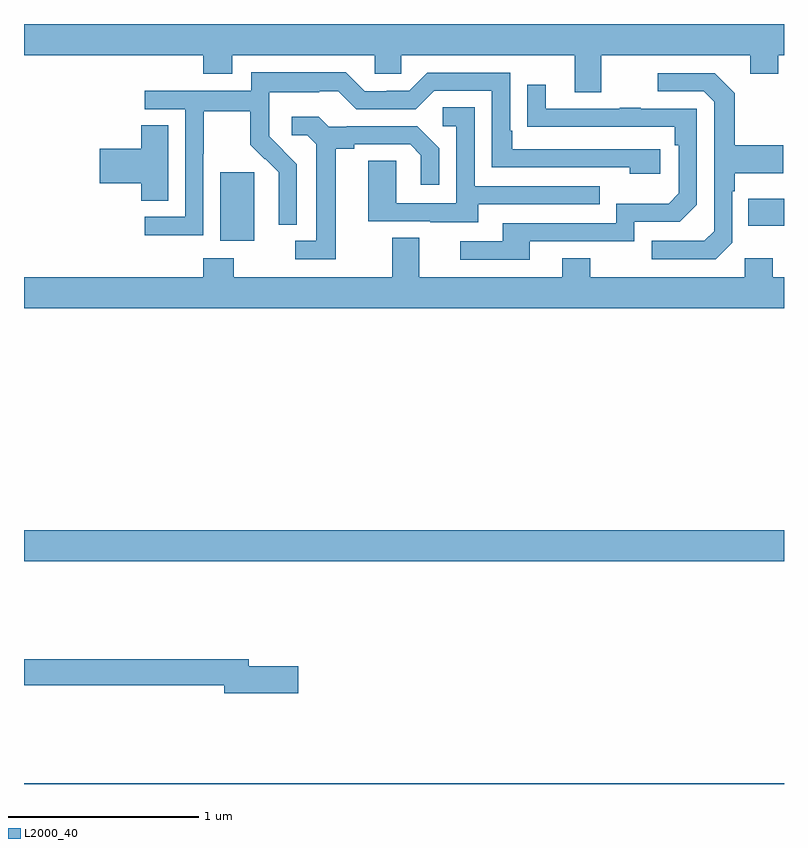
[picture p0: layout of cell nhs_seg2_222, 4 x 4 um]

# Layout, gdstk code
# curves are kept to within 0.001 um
import gdstk
lib = gdstk.Library(unit=1e-6, precision=1e-09)
def R(c, l, rs):  # rectangles x0, y0, x1, y1
    for r in rs: c.add(gdstk.rectangle(r[:2], r[2:], *l))
def P(c, l, *ps):  # polygons
    for p in ps: c.add(gdstk.Polygon(p, *l))
L2000_40 = (2000, 40)

nhs_seg2_222 = lib.new_cell('nhs_seg2_222')
R(nhs_seg2_222, L2000_40, [(121,643.8,125,643.804), (121,644.972,125,645.136), (122.033,646.658,122.212,647.019), (124.813,646.739,125,646.879)])
P(nhs_seg2_222, L2000_40, [(121,647.636),(121.943,647.636),(121.943,647.537),(122.095,647.537),(122.095,647.636),(122.847,647.636),(122.847,647.538),(122.985,647.538),(122.985,647.636),(123.899,647.636),(123.899,647.442),(124.039,647.442),(124.039,647.636),(124.823,647.636),(124.823,647.537),(124.971,647.537),(124.971,647.636),(125,647.636),(125,647.8),(121,647.8)],
  [(121.944,647.116),(121.947,647.116),(121.947,647.34),(122.191,647.34),(122.191,647.165),(122.268,647.088),(122.271,647.091),(122.342,647.021),(122.342,646.898),(122.34,646.898),(122.34,646.744),(122.436,646.744),(122.436,647.062),(122.29,647.21),(122.29,647.307),(122.292,647.307),(122.292,647.441),(122.555,647.441),(122.555,647.445),(122.655,647.445),(122.748,647.352),(123.063,647.352),(123.159,647.448),(123.462,647.448),(123.462,647.046),(124.187,647.046),(124.187,647.012),(124.348,647.012),(124.348,647.142),(123.571,647.142),(123.571,647.239),(123.558,647.239),(123.558,647.544),(123.123,647.544),(123.027,647.448),(122.909,647.448),(122.909,647.445),(122.793,647.445),(122.693,647.545),(122.196,647.545),(122.196,647.448),(121.635,647.448),(121.635,647.352),(121.848,647.352),(121.848,646.785),(121.635,646.785),(121.635,646.687),(121.944,646.687)],
  [(124.728,646.65),(124.728,646.919),(124.741,646.919),(124.741,647.015),(124.997,647.015),(124.997,647.163),(124.741,647.163),(124.741,647.435),(124.635,647.541),(124.335,647.541),(124.335,647.445),(124.578,647.445),(124.632,647.391),(124.632,646.71),(124.581,646.659),(124.305,646.659),(124.305,646.563),(124.641,646.563)],
  [(123.661,646.656),(124.212,646.656),(124.212,646.758),(124.452,646.758),(124.542,646.848),(124.542,647.355),(124.247,647.355),(124.247,647.36),(124.135,647.36),(124.135,647.355),(123.745,647.355),(123.745,647.479),(123.649,647.479),(123.649,647.26),(124.426,647.259),(124.426,647.162),(124.446,647.162),(124.446,646.908),(124.393,646.855),(124.116,646.855),(124.116,646.752),(123.521,646.752),(123.521,646.656),(123.297,646.656),(123.297,646.56),(123.661,646.56)],
  [(123.391,646.851),(124.031,646.851),(124.031,646.947),(123.372,646.947),(123.372,647.363),(123.204,647.363),(123.204,647.262),(123.276,647.262),(123.276,646.857),(122.958,646.857),(122.958,647.081),(122.813,647.081),(122.813,646.761),(123.137,646.761),(123.137,646.757),(123.391,646.757)],
  [(122.641,647.144),(122.737,647.144),(122.737,647.166),(123.032,647.166),(123.089,647.109),(123.089,646.953),(123.186,646.953),(123.186,647.146),(123.07,647.262),(122.698,647.262),(122.698,647.259),(122.604,647.259),(122.552,647.311),(122.409,647.311),(122.409,647.214),(122.49,647.214),(122.537,647.167),(122.537,646.659),(122.427,646.659),(122.427,646.563),(122.641,646.563)],
  [(121.759,647.267),(121.616,647.267),(121.616,647.144),(121.398,647.144),(121.398,646.961),(121.616,646.961),(121.616,646.87),(121.759,646.87)],
  [(125,646.468),(124.941,646.468),(124.941,646.567),(124.794,646.567),(124.794,646.468),(123.981,646.468),(123.981,646.567),(123.833,646.567),(123.833,646.468),(123.079,646.468),(123.079,646.676),(122.939,646.676),(122.939,646.468),(122.103,646.468),(122.103,646.567),(121.943,646.567),(121.943,646.468),(121,646.468),(121,646.304),(125,646.304)],
  [(122.443,644.42),(122.182,644.42),(122.182,644.456),(121,644.456),(121,644.32),(122.054,644.32),(122.054,644.278),(122.443,644.278)])

lib.write_gds('nhs_seg2_222.gds')
